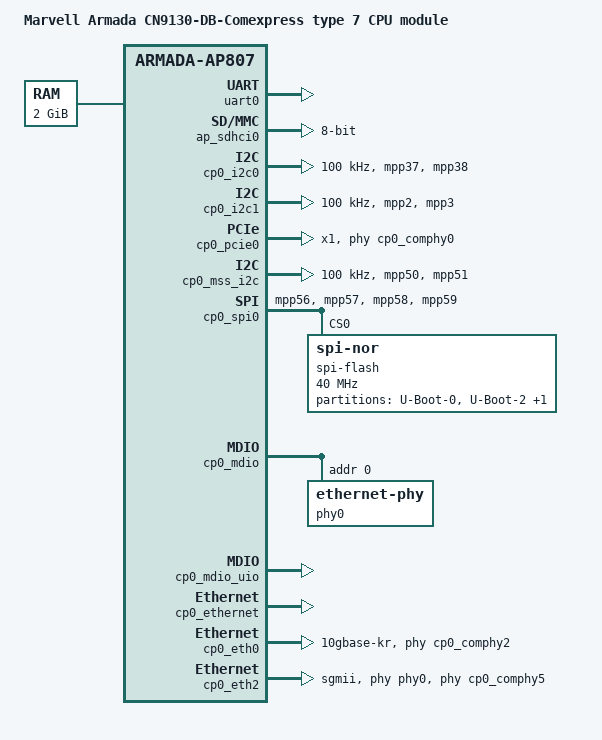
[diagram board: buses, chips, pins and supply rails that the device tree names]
// SPDX-License-Identifier: (GPL-2.0+ OR MIT)
/*
 * Copyright (C) 2019 Marvell International Ltd.
 *
 * Device tree for the CN9130 based COM Express type 7 board.
 */

#include "cn9130.dtsi"

#include <dt-bindings/gpio/gpio.h>

/ {
	model = "Marvell Armada CN9130-DB-Comexpress type 7 CPU module";
	compatible = "marvell,cn9130",
		"marvell,armada-ap807-quad",
		"marvell,armada-ap807";

	chosen {
		stdout-path = "serial0:115200n8";
	};

	aliases {
		i2c0 = &cp0_i2c0;
		i2c1 = &cp0_i2c1;
		i2c3 = &cp0_mss_i2c;
		ethernet0 = &cp0_eth0;
		ethernet1 = &cp0_eth2;
	};

	memory@00000000 {
		device_type = "memory";
		reg = <0x0 0x0 0x0 0x80000000>;
	};
};

&uart0 {
	status = "okay";
};

/* on-board eMMC - U9 */
&ap_sdhci0 {
	pinctrl-names = "default";
	bus-width = <8>;
	status = "okay";
	mmc-ddr-1_8v;
	mmc-hs400-1_8v;
	//vqmmc-supply = <&ap0_reg_mmc_vccq>;
};

/*
 * CP0
 */

&cp0_gpio1 {
	status = "okay";
};

&cp0_gpio2 {
	status = "okay";
};
&cp0_i2c0 {
	pinctrl-names = "default";
	pinctrl-0 = <&cp0_i2c0_pins>;
	status = "okay";
	clock-frequency = <100000>;
};

&cp0_i2c1 {
	pinctrl-names = "default";
	pinctrl-0 = <&cp0_i2c1_pins>;
	clock-frequency = <100000>;
	status = "okay";
};


&cp0_pcie0 {
	status = "okay";
	num-lanes = <1>;
	num-viewport = <8>;
	/* Generic PHY, providing serdes lanes */
	phys = <&cp0_comphy0 0>;
	iommu-map =
		<0x0   &smmu 0x480 0x20>,
		<0x100 &smmu 0x4a0 0x20>,
		<0x200 &smmu 0x4c0 0x20>;
	iommu-map-mask = <0x031f>;
};

&cp0_mss_i2c {
	pinctrl-names = "default";
	pinctrl-0 = <&cp0_mss_i2c_pins>;
	clock-frequency = <100000>;
	status = "okay";
};


&cp0_spi0 {
	pinctrl-names = "default";
	pinctrl-0 = <&cp0_spi0_pins>;
	reg = <0x700600 0x50>,		/* control */
	      <0x2000000 0x1000000>;	/* CS0 */
	status = "okay";

	spi-flash@0 {
		#address-cells = <0x1>;
		#size-cells = <0x1>;
		compatible = "jedec,spi-nor";
		reg = <0x0>;
		/* On-board MUX does not allow higher frequencies */
		spi-max-frequency = <40000000>;
		
		partitions {
			compatible = "fixed-partitions";
			#address-cells = <0x01>;
			#size-cells = <0x01>;
			
			partition@0 {
				label = "U-Boot-0";
				reg = <0x00 0x200000>;
			};
			partition@200000 {
				label = "U-Boot-2";
				reg = <0x200000 0x200000>;
			};
			partition@400000 {
				label = "Filesystem-0";
				reg = <0x400000 0x400000>;
			};
		};
	};
};

&cp0_syscon0 {
	cp0_pinctrl: pinctrl {
		compatible = "marvell,cp115-standalone-pinctrl";

		cp0_i2c0_pins: cp0-i2c-pins-0 {
			marvell,pins = "mpp37", "mpp38";
			marvell,function = "i2c0";
		};
		cp0_i2c1_pins: cp0-i2c-pins-1 {
			marvell,pins = "mpp2", "mpp3";
			marvell,function = "i2c1";
		};
		cp0_mss_i2c_pins: cp0-mss-i2c_pins-0 {
			marvell,pins = "mpp50", "mpp51";
			marvell,function = "mss_i2c";
		};
		cp0_sdhci_pins: cp0-sdhi-pins-0 {
			/*marvell,pins = "mpp56", "mpp57", "mpp58",
				       "mpp59", "mpp60", "mpp61";
			marvell,function = "sdio";*/
		};
		cp0_spi0_pins: cp0-spi-pins-0 {
			marvell,pins = "mpp56", "mpp57", "mpp58", "mpp59";
			marvell,function = "spi0";
		};
	};
};

&cp0_mdio {
	status = "okay";
	phy0: ethernet-phy@0 {
		reg = <0>;
	};
};


&cp0_mdio_uio { /* uses cp0_mdio */
	status = "okay";
};


&cp0_ethernet {
	status = "okay";
};

/*10G to switch*/
&cp0_eth0 {
	status = "okay";
	phy-mode = "10gbase-kr";
	managed = "in-band-status";
	phys = <&cp0_comphy2 0>;
};

/*88E1514 PHY*/
&cp0_eth2 {
	status = "okay";
	phy = <&phy0>;
	phy-mode = "sgmii";
	phys = <&cp0_comphy5 2>;
        /*phy-reset-gpios = <&cp0_gpio2 28 GPIO_ACTIVE_LOW>;*/
};

